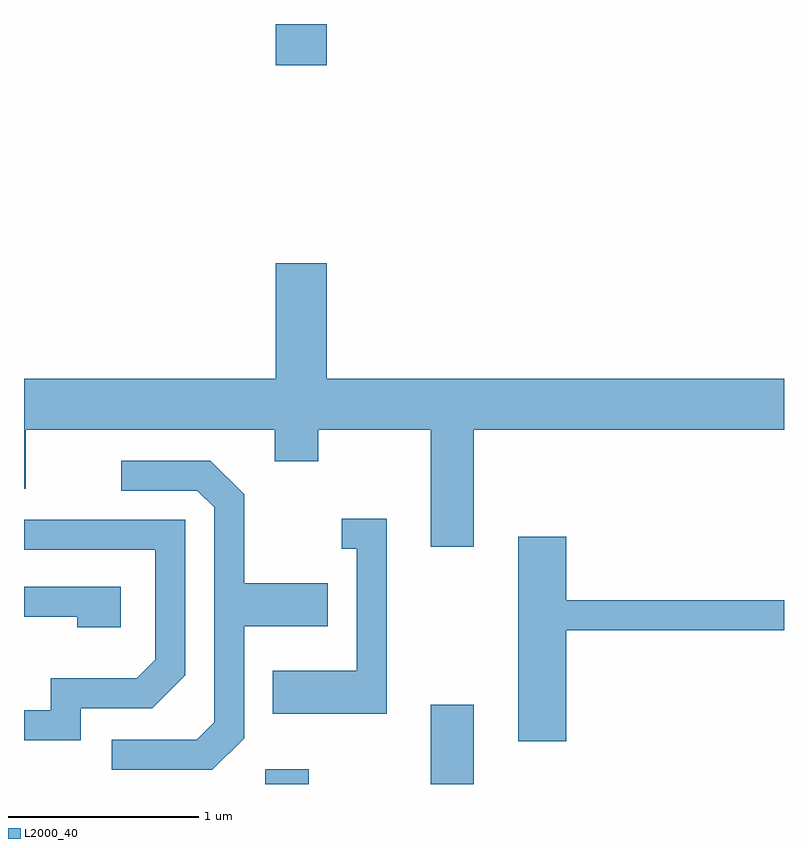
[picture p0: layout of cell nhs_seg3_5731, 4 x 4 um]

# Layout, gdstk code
import gdstk
lib = gdstk.Library(unit=1e-6, precision=1e-09)
def R(c, l, rs):  # rectangles x0, y0, x1, y1
    for r in rs: c.add(gdstk.rectangle(r[:2], r[2:], *l))
def P(c, l, *ps):  # polygons
    for p in ps: c.add(gdstk.Polygon(p, *l))
L2000_40 = (2000, 40)

nhs_seg3_5731 = lib.new_cell('nhs_seg3_5731')
R(nhs_seg3_5731, L2000_40, [(354.881,1161.892,355.109,1161.969), (355.751,1161.892,355.979,1162.309), (354.936,1165.676,355.204,1165.892)])
P(nhs_seg3_5731, L2000_40, [(355.204,1164.634),(354.936,1164.634),(354.936,1164.024),(353.611,1164.024),(353.611,1163.446),(353.619,1163.446),(353.619,1163.756),(354.931,1163.756),(354.931,1163.591),(355.159,1163.591),(355.159,1163.756),(355.751,1163.756),(355.751,1163.141),(355.979,1163.141),(355.979,1163.756),(357.611,1163.756),(357.611,1164.024),(355.204,1164.024)],
  [(354.769,1162.134),(354.769,1162.721),(355.209,1162.721),(355.209,1162.949),(354.769,1162.949),(354.769,1163.417),(354.592,1163.594),(354.123,1163.594),(354.123,1163.436),(354.524,1163.436),(354.611,1163.349),(354.611,1162.217),(354.519,1162.124),(354.073,1162.124),(354.073,1161.966),(354.602,1161.966)],
  [(355.519,1163.289),(355.283,1163.289),(355.283,1163.131),(355.361,1163.131),(355.361,1162.489),(354.921,1162.489),(354.921,1162.261),(355.519,1162.261)],
  [(353.909,1162.291),(354.287,1162.291),(354.459,1162.464),(354.459,1163.284),(353.611,1163.284),(353.611,1163.126),(354.301,1163.126),(354.301,1162.547),(354.204,1162.449),(353.751,1162.449),(353.751,1162.279),(353.611,1162.279),(353.611,1162.121),(353.909,1162.121)],
  [(356.464,1162.701),(357.611,1162.701),(357.611,1162.859),(356.464,1162.859),(356.464,1163.194),(356.211,1163.194),(356.211,1162.116),(356.464,1162.116)],
  [(354.119,1162.929),(353.611,1162.929),(353.611,1162.771),(353.891,1162.771),(353.891,1162.716),(354.119,1162.716)])

lib.write_gds('nhs_seg3_5731.gds')
